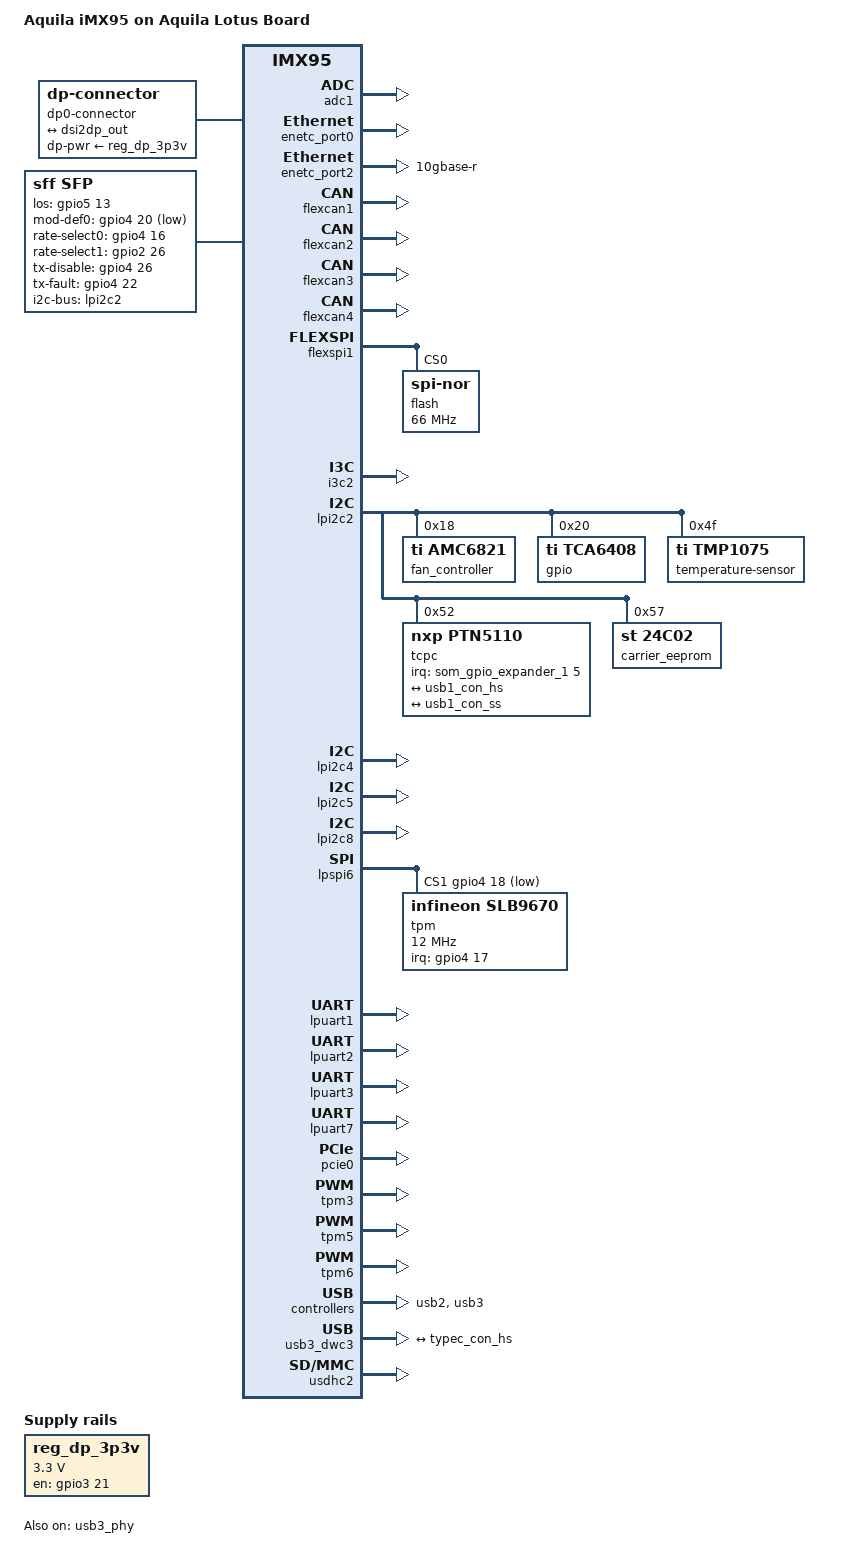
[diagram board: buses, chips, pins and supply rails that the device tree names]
// SPDX-License-Identifier: GPL-2.0-only OR MIT
/*
 * Copyright (c) Toradex
 *
 * https://www.toradex.com/computer-on-modules/aquila-arm-family/nxp-imx95
 * https://www.toradex.com/products/carrier-board/lotus
 */

/dts-v1/;

#include <dt-bindings/pwm/pwm.h>
#include <dt-bindings/usb/pd.h>
#include "imx95-aquila.dtsi"

/ {
	model = "Aquila iMX95 on Aquila Lotus Board";
	compatible = "toradex,aquila-imx95-lotus",
		     "toradex,aquila-imx95",
		     "fsl,imx95";

	aliases {
		eeprom1 = &carrier_eeprom;
	};

	dp0-connector {
		compatible = "dp-connector";
		dp-pwr-supply = <&reg_dp_3p3v>;
		type = "mini";

		port {
			dp_1_connector_in: endpoint {
				remote-endpoint = <&dsi2dp_out>;
			};
		};
	};

	reg_dp_3p3v: regulator-dp-3p3v {
		compatible = "regulator-fixed";
		pinctrl-names = "default";
		pinctrl-0 = <&pinctrl_gpio_21_dp>;
		/* Aquila GPIO_21_DP */
		gpios = <&gpio3 21 GPIO_ACTIVE_HIGH>;
		enable-active-high;
		regulator-always-on;
		regulator-boot-on;
		regulator-max-microvolt = <3300000>;
		regulator-min-microvolt = <3300000>;
		regulator-name = "DP_3V3";
		startup-delay-us = <10000>;
	};

	sfp: sfp {
		compatible = "sff,sfp";
		pinctrl-names = "default";
		pinctrl-0 = <&pinctrl_gpio_19_dsi_1>, <&pinctrl_i2s_1_sync_gpio>,
			    <&pinctrl_i2s_1_d_in_gpio>, <&pinctrl_pwm4_dp_gpio>,
			    <&pinctrl_i2s_1_mclk_gpio>, <&pinctrl_i2s_1_d_out_gpio>;
		i2c-bus = <&lpi2c2>;
		los-gpios = <&gpio5 13 GPIO_ACTIVE_HIGH>;
		maximum-power-milliwatt = <4000>;
		mod-def0-gpios = <&gpio4 20 GPIO_ACTIVE_LOW>;
		rate-select0-gpios = <&gpio4 16 GPIO_ACTIVE_HIGH>;
		rate-select1-gpios = <&gpio2 26 GPIO_ACTIVE_HIGH>;
		tx-disable-gpios = <&gpio4 26 GPIO_ACTIVE_HIGH>;
		tx-fault-gpios = <&gpio4 22 GPIO_ACTIVE_HIGH>;
	};
};

/* Aquila ADC_[1-4] */
&adc1 {
	status = "okay";
};

&dsi2dp_out {
	remote-endpoint = <&dp_1_connector_in>;
};

/* Aquila ETH_1 */
&enetc_port0 {
	status = "okay";
};

/* Aquila ETH_2_XGMII */
&enetc_port2 {
	managed = "in-band-status";
	phy-mode = "10gbase-r";
	sfp = <&sfp>;

	status = "okay";
};

/* Aquila CAN_1 */
&flexcan1 {
	status = "okay";
};

/* Aquila CAN_2 */
&flexcan2 {
	status = "okay";
};

/* Aquila CAN_3 */
&flexcan3 {
	status = "okay";
};

/* Aquila CAN_4 */
&flexcan4 {
	status = "okay";
};

/* Aquila QSPI_1 */
&flexspi1 {
	pinctrl-0 = <&pinctrl_flexspi1_4bit>,
		    <&pinctrl_qspi_cs1>;

	status = "okay";

	flash@0 {
		compatible = "jedec,spi-nor";
		reg = <0x0>;
		spi-max-frequency = <66000000>;
		spi-rx-bus-width = <4>;
		spi-tx-bus-width = <4>;
	};
};

&gpio1 {
	pinctrl-names = "default";
	pinctrl-0 = <&pinctrl_gpio_8_dig_in_rb>;
};

&gpio4 {
	pinctrl-names = "default";
	pinctrl-0 = <&pinctrl_gpio_1>,
		    <&pinctrl_gpio_2>,
		    <&pinctrl_gpio_3>,
		    <&pinctrl_gpio_4>,
		    <&pinctrl_gpio_7_dig_in_rb>,
		    <&pinctrl_i2s_1_bclk_dig_in_rb>;
};

/* Aquila I2C_2 */
&i3c2 {
	status = "okay";
};

/* Aquila I2C_1 */
&lpi2c2 {
	status = "okay";

	fan_controller: fan@18 {
		compatible = "ti,amc6821";
		reg = <0x18>;
		#pwm-cells = <2>;

		fan {
			cooling-levels = <255>;
			pwms = <&fan_controller 40000 PWM_POLARITY_INVERTED>;
		};
	};

	gpio@20 {
		compatible = "ti,tca6408";
		reg = <0x20>;
		#gpio-cells = <2>;
		gpio-controller;
		gpio-line-names =
			"DO1_EN",
			"DO2_EN",
			"DO3_EN",
			"",
			"DI1_EN",
			"DI2_EN",
			"DI3_EN",
			"";
	};

	temperature-sensor@4f {
		compatible = "ti,tmp1075";
		reg = <0x4f>;
	};

	/* USB-C OTG (TCPC USB PD PHY) */
	tcpc@52 {
		compatible = "nxp,ptn5110", "tcpci";
		reg = <0x52>;
		interrupt-parent = <&som_gpio_expander_1>;
		interrupts = <5 IRQ_TYPE_EDGE_FALLING>;

		connector {
			compatible = "usb-c-connector";
			data-role = "dual";
			op-sink-microwatt = <0>;
			power-role = "dual";
			self-powered;
			sink-pdos = <PDO_FIXED(5000, 0, PDO_FIXED_USB_COMM)>;
			source-pdos = <PDO_FIXED(5000, 3000, PDO_FIXED_USB_COMM)>;
			try-power-role = "sink";

			ports {
				#address-cells = <1>;
				#size-cells = <0>;

				port@0 {
					reg = <0>;

					typec_con_hs: endpoint {
						remote-endpoint = <&usb1_con_hs>;
					};
				};

				port@1 {
					reg = <1>;

					typec_con_ss: endpoint {
						remote-endpoint = <&usb1_con_ss>;
					};
				};
			};
		};
	};

	carrier_eeprom: eeprom@57 {
		compatible = "st,24c02", "atmel,24c02";
		reg = <0x57>;
		pagesize = <16>;
	};
};

/* Aquila I2C_4_CSI1 */
&lpi2c4 {
	status = "okay";
};

/* Aquila I2C_6 */
&lpi2c5 {
	status = "okay";
};

/* Aquila I2C_3_DSI1/I2C_5_CSI2 */
&lpi2c8 {
	status = "okay";
};

/* Aquila SPI_1 */
&lpspi6 {
	pinctrl-names = "default";
	pinctrl-0 = <&pinctrl_lpspi6>, <&pinctrl_gpio_5>;
	/* Aquila SPI_1_CS (Aquila D09), Aquila GPIO_05 (Aquila C21) */
	cs-gpios = <&gpio2 0 GPIO_ACTIVE_LOW>, <&gpio4 18 GPIO_ACTIVE_LOW>;

	status = "okay";

	tpm@1 {
		compatible = "infineon,slb9670", "tcg,tpm_tis-spi";
		reg = <1>;
		pinctrl-names = "default";
		pinctrl-0 = <&pinctrl_gpio_6>;
		/* Aquila GPIO_06 (Aquila C22) */
		interrupt-parent = <&gpio4>;
		interrupts = <17 IRQ_TYPE_LEVEL_LOW>;
		spi-max-frequency = <12000000>;
	};
};

/* Aquila UART_3, used as the Linux Console */
&lpuart1 {
	status = "okay";
};

/* Aquila UART_4 */
&lpuart2 {
	status = "okay";
};

/* Aquila UART_1 as Non-Isolated RS-485 */
&lpuart3 {
	linux,rs485-enabled-at-boot-time;

	status = "okay";
};

/* Aquila UART_2 as Isolated RS-485 */
&lpuart7 {
	linux,rs485-enabled-at-boot-time;

	status = "okay";
};

/* Aquila PCIE_1 */
&pcie0 {
	status = "okay";
};

/* Aquila PWM_1 */
&tpm3 {
	status = "okay";
};

/* Aquila PWM_3_DSI. Don't claim PWM_4_DP, as it's used as SFP+ RS1 */
&tpm5 {
	pinctrl-0 = <&pinctrl_pwm3_dsi>;

	status = "okay";
};

/* Aquila PWM_2 */
&tpm6 {
	status = "okay";
};

/* Aquila USB_2 */
&usb2 {
	status = "okay";
};

/* Aquila USB_1 */
&usb3 {
	status = "okay";
};

&usb3_dwc3 {
	status = "okay";

	port {
		usb1_con_hs: endpoint {
			remote-endpoint = <&typec_con_hs>;
		};
	};
};

&usb3_phy {
	orientation-switch;

	status = "okay";

	port {
		usb1_con_ss: endpoint {
			remote-endpoint = <&typec_con_ss>;
		};
	};
};

/* Aquila SD_1 */
&usdhc2 {
	status = "okay";
};

&scmi_iomuxc {
	/* Aquila GPIO_07 without internal pull-up or pull-down */
	pinctrl_gpio_7_dig_in_rb: gpio7diginrbgrp {
		fsl,pins = <IMX95_PAD_ENET2_RXC__GPIO4_IO_BIT23	0x11e>; /* Aquila C23 */
	};

	/* Aquila GPIO_08 without internal pull-up or pull-down */
	pinctrl_gpio_8_dig_in_rb: gpio8diginrbgrp {
		fsl,pins = <IMX95_PAD_PDM_BIT_STREAM1__AONMIX_TOP_GPIO1_IO_BIT10	0x11e>; /* Aquila C24 */
	};

	/* Aquila I2S_1_BCLK without internal pull-up or pull-down */
	pinctrl_i2s_1_bclk_dig_in_rb: sai2txbclkdiginrbgrp {
		fsl,pins = <IMX95_PAD_ENET2_TXC__GPIO4_IO_BIT21	0x11e>; /* Aquila B20 */
	};
};
